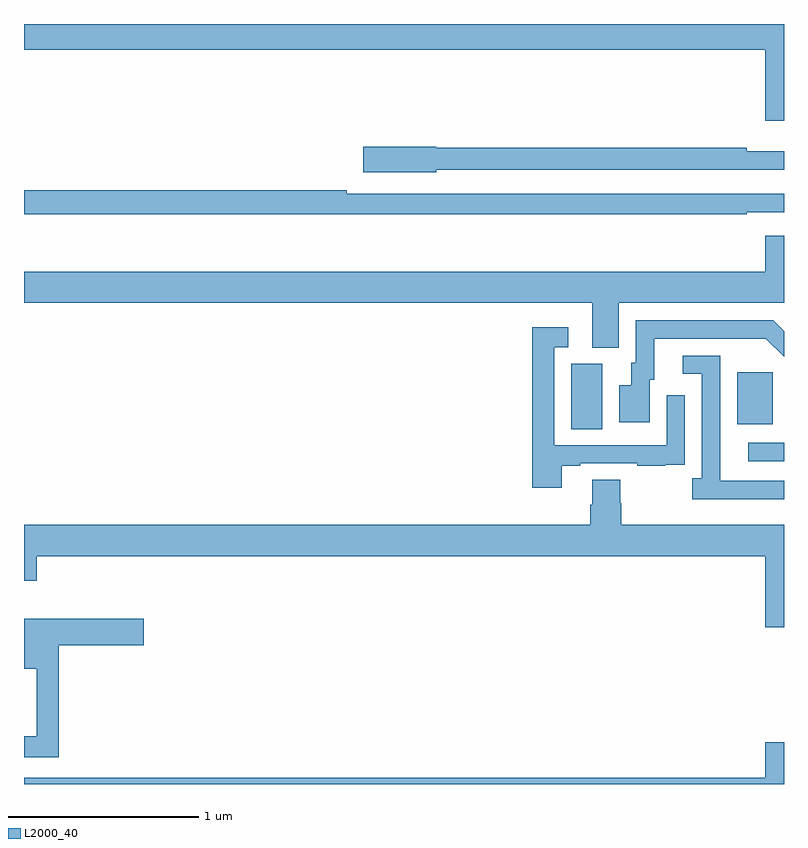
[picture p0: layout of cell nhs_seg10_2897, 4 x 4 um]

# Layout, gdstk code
import gdstk
lib = gdstk.Library(unit=1e-6, precision=1e-09)
def R(c, l, rs):  # rectangles x0, y0, x1, y1
    for r in rs: c.add(gdstk.rectangle(r[:2], r[2:], *l))
def P(c, l, *ps):  # polygons
    for p in ps: c.add(gdstk.Polygon(p, *l))
L2000_40 = (2000, 40)

nhs_seg10_2897 = lib.new_cell('nhs_seg10_2897')
R(nhs_seg10_2897, L2000_40, [(272.811,1250.199,273,1250.295), (271.88,1250.368,272.044,1250.712), (272.753,1250.393,272.941,1250.668)])
P(nhs_seg10_2897, L2000_40, [(273,1252.5),(269,1252.5),(269,1252.364),(272.9,1252.364),(272.9,1251.99),(273,1251.99)],
  [(271.17,1251.732),(273,1251.732),(273,1251.829),(272.804,1251.829),(272.804,1251.848),(271.17,1251.848),(271.17,1251.854),(270.786,1251.854),(270.786,1251.719),(271.17,1251.719)],
  [(272.804,1251.51),(273,1251.51),(273,1251.606),(270.698,1251.606),(270.698,1251.626),(269,1251.626),(269,1251.498),(272.804,1251.498)],
  [(272.131,1251.032),(273,1251.032),(273,1251.385),(272.9,1251.385),(272.9,1251.196),(269,1251.196),(269,1251.032),(271.991,1251.032),(271.991,1250.797),(272.131,1250.797)],
  [(272.293,1250.628),(272.317,1250.628),(272.317,1250.844),(272.905,1250.844),(273,1250.748),(273,1250.884),(272.944,1250.94),(272.22,1250.94),(272.22,1250.718),(272.195,1250.718),(272.195,1250.599),(272.132,1250.599),(272.132,1250.403),(272.293,1250.403)],
  [(271.831,1250.175),(271.927,1250.175),(271.927,1250.187),(272.227,1250.187),(272.227,1250.175),(272.375,1250.175),(272.375,1250.181),(272.477,1250.181),(272.477,1250.29),(272.478,1250.29),(272.478,1250.545),(272.382,1250.545),(272.382,1250.283),(271.791,1250.283),(271.791,1250.799),(271.864,1250.799),(271.864,1250.905),(271.675,1250.905),(271.675,1250.058),(271.831,1250.058)],
  [(273,1250.097),(272.665,1250.097),(272.665,1250.297),(272.664,1250.297),(272.664,1250.754),(272.466,1250.754),(272.466,1250.658),(272.568,1250.658),(272.568,1250.11),(272.517,1250.11),(272.517,1250),(273,1250)],
  [(273,1249.864),(272.144,1249.864),(272.144,1249.977),(272.139,1249.977),(272.139,1250.102),(271.991,1250.102),(271.991,1249.97),(271.979,1249.97),(271.979,1249.864),(269,1249.864),(269,1249.569),(269.066,1249.569),(269.066,1249.7),(272.9,1249.7),(272.9,1249.326),(273,1249.326)],
  [(269.183,1249.229),(269.629,1249.229),(269.629,1249.371),(269,1249.371),(269,1249.106),(269.066,1249.106),(269.066,1248.751),(269,1248.751),(269,1248.642),(269.183,1248.642)],
  [(273,1248.721),(272.9,1248.721),(272.9,1248.532),(269,1248.532),(269,1248.5),(273,1248.5)])

lib.write_gds('nhs_seg10_2897.gds')
